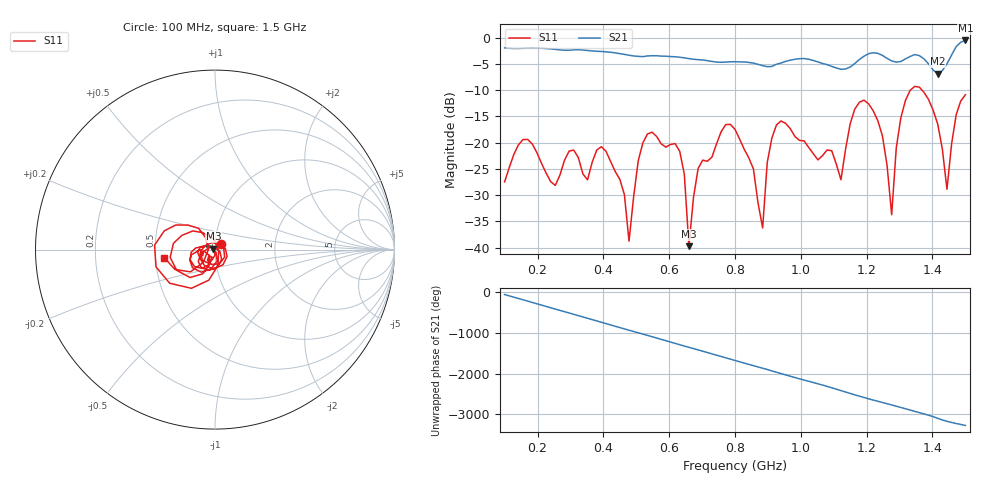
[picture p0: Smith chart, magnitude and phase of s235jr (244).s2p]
! NanoVNA-App
! Date: 2025-09-25 15:06:03
! Start: 100MHz Stop: 1,5GHz Points: 101
! S-Parameter data: F S11 S21 S12 S22
# Hz S RI R 50
!  Frequency  S11_Real  S11_Imag  S21_Real  S21_Imag  S12_Real  S12_Imag  S22_Real  S22_Imag
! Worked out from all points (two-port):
!   101 points, 100 MHz to 1.5 GHz, reference 50 ohm
!   highest |S21| = -0.56 dB at 1.5 GHz (marker M1); lowest = -6.9 dB at 1.416 GHz (marker M2)
!   |S21| within 3 dB of the highest: start of sweep to 501 MHz; 528.5 MHz to 591 MHz (62.43 MHz wide, 11.2 % of centre) (the widest 2 of 5)
!   lowest |S11| = -39.7 dB at 660 MHz (marker M3), VSWR 1.02, Z = 49.2 + j0.586 ohm
!   |S11| at or under -10 dB: start of sweep to 1.333 GHz; 1.368 GHz to end of sweep
!   S12 and S22 are empty: the file has one direction only
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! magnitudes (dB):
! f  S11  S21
! 100 MHz  -27.5  -2.0
! 156 MHz  -19.4  -2.0
! 338 MHz  -26.0  -2.4
! 408 MHz  -21.6  -2.7
! 478 MHz  -38.8  -3.4
! 520 MHz  -20.1  -3.6
! 576 MHz  -20.2  -3.5
! 632 MHz  -21.6  -3.7
! 660 MHz  -39.7  -4.0
! 688 MHz  -24.9  -4.2
! 800 MHz  -17.5  -4.6
! 884 MHz  -36.2  -5.4
! 926 MHz  -16.6  -5.1
! 1.038 GHz  -22.1  -4.4
! 1.122 GHz  -27.1  -6.0
! 1.192 GHz  -11.9  -3.6
! 1.248 GHz  -18.7  -3.4
! 1.276 GHz  -33.7  -4.5
! 1.332 GHz  -10.0  -3.6
! 1.416 GHz  -16.5  -6.9
! 1.444 GHz  -28.9  -5.0
! 1.5 GHz  -10.9  -0.6
